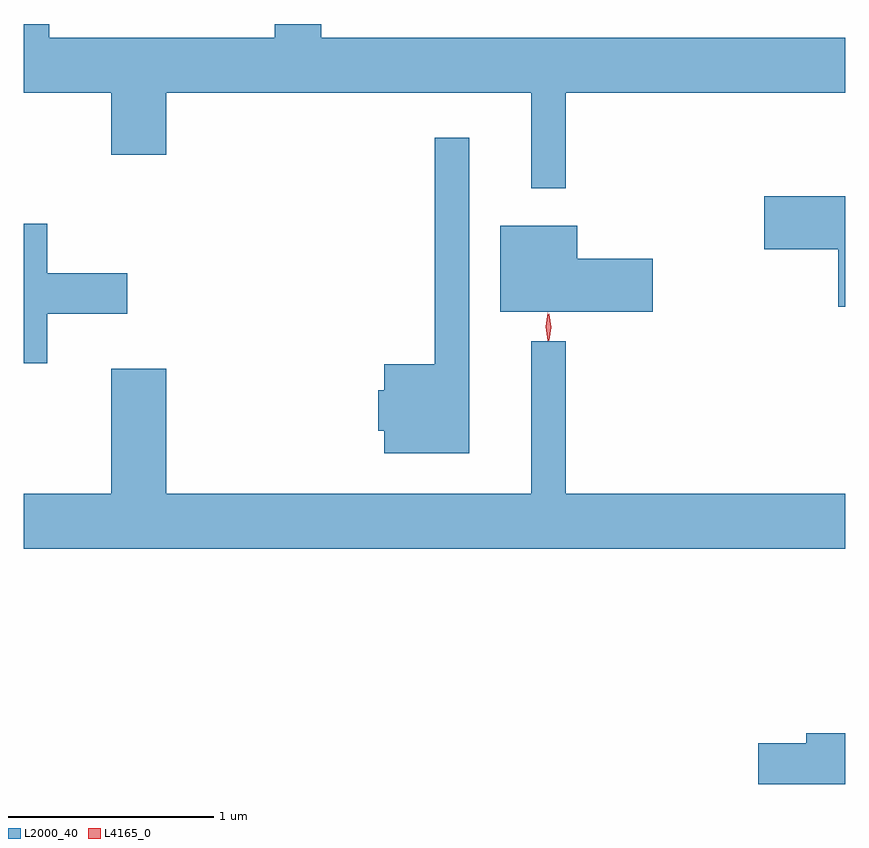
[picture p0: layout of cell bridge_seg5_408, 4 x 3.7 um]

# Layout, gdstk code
import gdstk
lib = gdstk.Library(unit=1e-6, precision=1e-09)
def P(c, l, *ps):  # polygons
    for p in ps: c.add(gdstk.Polygon(p, *l))
L2000_40 = (2000, 40)
L4165_0 = (4165, 0)

bridge_seg5_408 = lib.new_cell('bridge_seg5_408')
P(bridge_seg5_408, L2000_40, [(237.269,1516.736),(238.63,1516.736),(238.63,1517.004),(236.079,1517.004),(236.079,1517.072),(235.851,1517.072),(235.851,1517.004),(234.754,1517.004),(234.754,1517.072),(234.63,1517.072),(234.63,1516.736),(235.056,1516.736),(235.056,1516.436),(235.324,1516.436),(235.324,1516.736),(237.101,1516.736),(237.101,1516.273),(237.269,1516.273)],
  [(236.799,1516.518),(236.631,1516.518),(236.631,1515.414),(236.386,1515.414),(236.386,1515.289),(236.356,1515.289),(236.356,1515.091),(236.386,1515.091),(236.386,1514.981),(236.799,1514.981)],
  [(238.63,1516.234),(238.236,1516.234),(238.236,1515.976),(238.596,1515.976),(238.596,1515.696),(238.63,1515.696)],
  [(234.744,1515.661),(235.134,1515.661),(235.134,1515.859),(234.744,1515.859),(234.744,1516.099),(234.63,1516.099),(234.63,1515.421),(234.744,1515.421)],
  [(237.694,1515.929),(237.324,1515.929),(237.324,1516.089),(236.951,1516.089),(236.951,1515.671),(237.694,1515.671)],
  [(238.63,1514.784),(237.269,1514.784),(237.269,1515.528),(237.101,1515.528),(237.101,1514.784),(235.324,1514.784),(235.324,1515.394),(235.056,1515.394),(235.056,1514.784),(234.63,1514.784),(234.63,1514.516),(238.63,1514.516)],
  [(238.63,1513.619),(238.441,1513.619),(238.441,1513.569),(238.206,1513.569),(238.206,1513.371),(238.63,1513.371)])
P(bridge_seg5_408, L4165_0, [(237.182,1515.53),(237.172,1515.598),(237.181,1515.666),(237.182,1515.666),(237.182,1515.666),(237.192,1515.598),(237.183,1515.53),(237.183,1515.53)],
  [(237.187,1515.533),(237.178,1515.596),(237.187,1515.659),(237.188,1515.66),(237.188,1515.659),(237.198,1515.596),(237.188,1515.533),(237.188,1515.533)])

lib.write_gds('bridge_seg5_408.gds')
